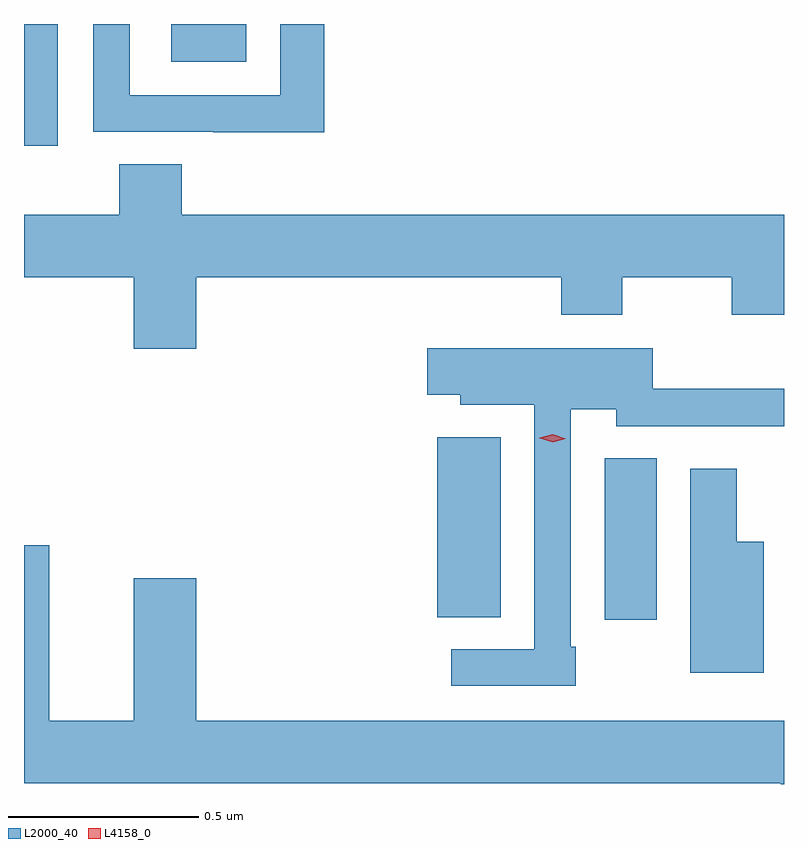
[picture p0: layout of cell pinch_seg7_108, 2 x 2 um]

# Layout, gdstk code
import gdstk
lib = gdstk.Library(unit=1e-6, precision=1e-09)
def R(c, l, rs):  # rectangles x0, y0, x1, y1
    for r in rs: c.add(gdstk.rectangle(r[:2], r[2:], *l))
def P(c, l, *ps):  # polygons
    for p in ps: c.add(gdstk.Polygon(p, *l))
L2000_40 = (2000, 40)
L4158_0 = (4158, 0)

pinch_seg7_108 = lib.new_cell('pinch_seg7_108')
R(pinch_seg7_108, L2000_40, [(885.527,1021.026,885.664,1021.451), (885.086,1021.033,885.253,1021.507), (883.999,1022.274,884.088,1022.594), (884.387,1022.495,884.584,1022.594)])
P(pinch_seg7_108, L2000_40, [(884.789,1022.594),(884.673,1022.594),(884.673,1022.406),(884.277,1022.406),(884.277,1022.594),(884.181,1022.594),(884.181,1022.31),(884.497,1022.31),(884.497,1022.309),(884.789,1022.309)],
  [(884.452,1021.928),(885.413,1021.928),(885.413,1021.829),(885.573,1021.829),(885.573,1021.928),(885.862,1021.928),(885.862,1021.829),(885.999,1021.829),(885.999,1022.092),(884.414,1022.092),(884.414,1022.225),(884.249,1022.225),(884.249,1022.092),(883.999,1022.092),(883.999,1021.928),(884.288,1021.928),(884.288,1021.74),(884.452,1021.74)],
  [(885.451,1020.955),(885.438,1020.955),(885.438,1021.58),(885.558,1021.58),(885.558,1021.536),(885.999,1021.536),(885.999,1021.634),(885.654,1021.634),(885.654,1021.741),(885.06,1021.741),(885.06,1021.619),(885.147,1021.619),(885.147,1021.592),(885.342,1021.592),(885.342,1020.948),(885.123,1020.948),(885.123,1020.852),(885.451,1020.852)],
  [(885.946,1021.231),(885.874,1021.231),(885.874,1021.423),(885.752,1021.423),(885.752,1020.887),(885.946,1020.887)],
  [(885.999,1020.76),(884.452,1020.76),(884.452,1021.135),(884.288,1021.135),(884.288,1020.76),(884.065,1020.76),(884.065,1021.222),(883.999,1021.222),(883.999,1020.596),(885.99,1020.596),(885.99,1020.594),(885.999,1020.594)])
P(pinch_seg7_108, L4158_0, [(885.39,1021.494),(885.356,1021.504),(885.355,1021.504),(885.356,1021.505),(885.39,1021.514),(885.425,1021.503),(885.425,1021.503),(885.425,1021.503)])

lib.write_gds('pinch_seg7_108.gds')
